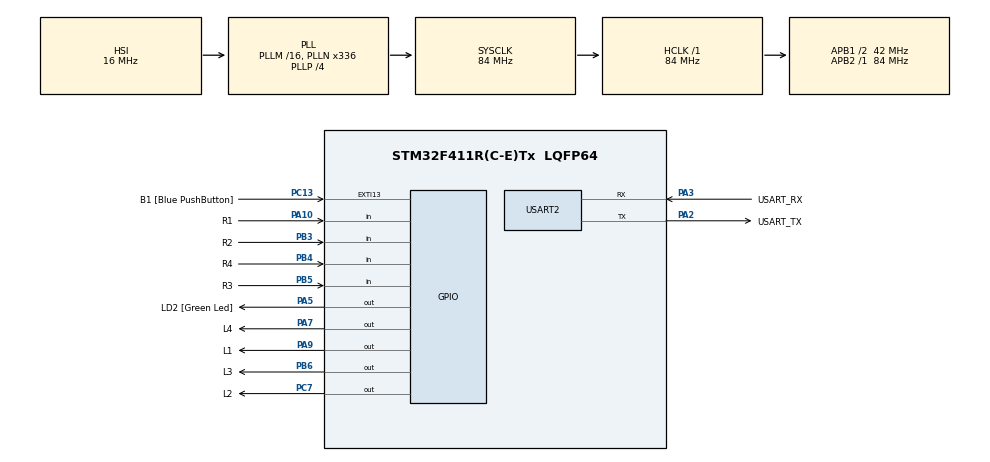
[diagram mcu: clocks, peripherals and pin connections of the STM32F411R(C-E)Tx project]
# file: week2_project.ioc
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Mcu.Family=STM32F4
Mcu.Name=STM32F411R(C-E)Tx
Mcu.Package=LQFP64
NVIC.PriorityGroup=NVIC_PRIORITYGROUP_0
PA10.GPIO_Label=R1
PA10.GPIO_Mode=GPIO_MODE_INPUT
PA10.GPIO_PuPd=GPIO_PULLUP
PA10.Signal=GPIO_Input
PA13.GPIO_Label=TMS
PA13.Mode=Serial_Wire
PA13.Signal=SYS_JTMS-SWDIO
PA14.GPIO_Label=TCK
PA14.Mode=Serial_Wire
PA14.Signal=SYS_JTCK-SWCLK
PA2.GPIO_Label=USART_TX
PA2.Mode=Asynchronous
PA2.Signal=USART2_TX
PA3.GPIO_Label=USART_RX
PA3.Mode=Asynchronous
PA3.Signal=USART2_RX
PA5.GPIO_Label=LD2 [Green Led]
PA5.Signal=GPIO_Output
PA7.GPIO_Label=L4
PA7.GPIO_ModeDefaultOutputPP=GPIO_MODE_OUTPUT_OD
PA7.GPIO_PuPd=GPIO_NOPULL
PA7.Signal=GPIO_Output
PA9.GPIO_Label=L1
PA9.GPIO_ModeDefaultOutputPP=GPIO_MODE_OUTPUT_OD
PA9.GPIO_PuPd=GPIO_NOPULL
PA9.Signal=GPIO_Output
PB3.GPIO_Label=R2
PB3.GPIO_Mode=GPIO_MODE_INPUT
PB3.GPIO_PuPd=GPIO_PULLUP
PB3.Signal=GPIO_Input
PB4.GPIO_Label=R4
PB4.GPIO_Mode=GPIO_MODE_INPUT
PB4.GPIO_PuPd=GPIO_PULLUP
PB4.Signal=GPIO_Input
PB5.GPIO_Label=R3
PB5.GPIO_Mode=GPIO_MODE_INPUT
PB5.GPIO_PuPd=GPIO_PULLUP
PB5.Signal=GPIO_Input
PB6.GPIO_Label=L3
PB6.GPIO_ModeDefaultOutputPP=GPIO_MODE_OUTPUT_OD
PB6.GPIO_PuPd=GPIO_NOPULL
PB6.Signal=GPIO_Output
PC13-ANTI_TAMP.GPIO_Label=B1 [Blue PushButton]
PC13-ANTI_TAMP.GPIO_ModeDefaultEXTI=GPIO_MODE_IT_FALLING
PC13-ANTI_TAMP.Signal=GPXTI13
PC14-OSC32_IN.Mode=LSE-External-Oscillator
PC14-OSC32_IN.Signal=RCC_OSC32_IN
PC15-OSC32_OUT.Mode=LSE-External-Oscillator
PC15-OSC32_OUT.Signal=RCC_OSC32_OUT
PC7.GPIO_Label=L2
PC7.GPIO_ModeDefaultOutputPP=GPIO_MODE_OUTPUT_OD
PC7.GPIO_PuPd=GPIO_NOPULL
PC7.Signal=GPIO_Output
PH0\ -\ OSC_IN.Mode=HSE-External-Clock-Source
PH0\ -\ OSC_IN.Signal=RCC_OSC_IN
PH1\ -\ OSC_OUT.Mode=HSE-External-Clock-Source
PH1\ -\ OSC_OUT.Signal=RCC_OSC_OUT
ProjectManager.HeapSize=0x200
ProjectManager.StackSize=0x400
ProjectManager.TargetToolchain=STM32CubeIDE
RCC.48MHZClocksFreq_Value=84000000
RCC.AHBFreq_Value=84000000
RCC.APB1CLKDivider=RCC_HCLK_DIV2
RCC.APB1Freq_Value=42000000
RCC.APB1TimFreq_Value=84000000
RCC.APB2Freq_Value=84000000
RCC.APB2TimFreq_Value=84000000
RCC.CortexFreq_Value=84000000
RCC.FLatency-AdvancedSettings=FLASH_LATENCY_2
RCC.HCLKFreq_Value=84000000
RCC.HSE_VALUE=8000000
RCC.HSI_VALUE=16000000
RCC.PLLN=336
RCC.PLLP=RCC_PLLP_DIV4
RCC.SYSCLKFreq_VALUE=84000000
RCC.SYSCLKSource=RCC_SYSCLKSOURCE_PLLCLK
RCC.VCOOutputFreq_Value=336000000
USART2.VirtualMode=VM_ASYNC
board=NUCLEO-F411RE

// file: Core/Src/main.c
/* USER CODE BEGIN Header */
/**
  ******************************************************************************
  * @file           : main.c
  * @brief          : Main program body
  ******************************************************************************
  * @attention
  *
  * Copyright (c) 2022 STMicroelectronics.
  * All rights reserved.
  *
  * This software is licensed under terms that can be found in the LICENSE file
  * in the root directory of this software component.
  * If no LICENSE file comes with this software, it is provided AS-IS.
  *
  ******************************************************************************
  */
/* USER CODE END Header */
#include "main.h"

UART_HandleTypeDef huart2;

/* USER CODE BEGIN PV */
uint16_t Buttonstate = 0; // store button state 4x4 button
uint8_t test=0;
/* USER CODE END PV */

void SystemClock_Config(void);
static void MX_GPIO_Init(void);
static void MX_USART2_UART_Init(void);
/* USER CODE BEGIN PFP */
void ButtonMatrixRerad();
/* USER CODE END PFP */

int main(void)
{

  /* MCU Configuration--------------------------------------------------------*/

  /* Reset of all peripherals, Initializes the Flash interface and the Systick. */
  HAL_Init();

  /* Configure the system clock */
  SystemClock_Config();

  /* Initialize all configured peripherals */
  MX_GPIO_Init();
  MX_USART2_UART_Init();

  /* Infinite loop */
  while (1)
  {

    /* USER CODE BEGIN 3 */
	//function that read Button
	  ButtonMatrixRead();
	  test = HAL_GPIO_ReadPin(GPIOA, GPIO_PIN_10);
  }
  /* USER CODE END 3 */
}

void SystemClock_Config(void)
{
  RCC_OscInitTypeDef RCC_OscInitStruct = {0};
  RCC_ClkInitTypeDef RCC_ClkInitStruct = {0};

  /** Configure the main internal regulator output voltage
  */
  __HAL_RCC_PWR_CLK_ENABLE();
  __HAL_PWR_VOLTAGESCALING_CONFIG(PWR_REGULATOR_VOLTAGE_SCALE1);
  /** Initializes the RCC Oscillators according to the specified parameters
  * in the RCC_OscInitTypeDef structure.
  */
  RCC_OscInitStruct.OscillatorType = RCC_OSCILLATORTYPE_HSI;
  RCC_OscInitStruct.HSIState = RCC_HSI_ON;
  RCC_OscInitStruct.HSICalibrationValue = RCC_HSICALIBRATION_DEFAULT;
  RCC_OscInitStruct.PLL.PLLState = RCC_PLL_ON;
  RCC_OscInitStruct.PLL.PLLSource = RCC_PLLSOURCE_HSI;
  RCC_OscInitStruct.PLL.PLLM = 16;
  RCC_OscInitStruct.PLL.PLLN = 336;
  RCC_OscInitStruct.PLL.PLLP = RCC_PLLP_DIV4;
  RCC_OscInitStruct.PLL.PLLQ = 4;
  if (HAL_RCC_OscConfig(&RCC_OscInitStruct) != HAL_OK)
  {
    Error_Handler();
  }
  /** Initializes the CPU, AHB and APB buses clocks
  */
  RCC_ClkInitStruct.ClockType = RCC_CLOCKTYPE_HCLK|RCC_CLOCKTYPE_SYSCLK
                              |RCC_CLOCKTYPE_PCLK1|RCC_CLOCKTYPE_PCLK2;
  RCC_ClkInitStruct.SYSCLKSource = RCC_SYSCLKSOURCE_PLLCLK;
  RCC_ClkInitStruct.AHBCLKDivider = RCC_SYSCLK_DIV1;
  RCC_ClkInitStruct.APB1CLKDivider = RCC_HCLK_DIV2;
  RCC_ClkInitStruct.APB2CLKDivider = RCC_HCLK_DIV1;

  if (HAL_RCC_ClockConfig(&RCC_ClkInitStruct, FLASH_LATENCY_2) != HAL_OK)
  {
    Error_Handler();
  }
}

static void MX_USART2_UART_Init(void)
{

  huart2.Instance = USART2;
  huart2.Init.BaudRate = 115200;
  huart2.Init.WordLength = UART_WORDLENGTH_8B;
  huart2.Init.StopBits = UART_STOPBITS_1;
  huart2.Init.Parity = UART_PARITY_NONE;
  huart2.Init.Mode = UART_MODE_TX_RX;
  huart2.Init.HwFlowCtl = UART_HWCONTROL_NONE;
  huart2.Init.OverSampling = UART_OVERSAMPLING_16;
  if (HAL_UART_Init(&huart2) != HAL_OK)
  {
    Error_Handler();
  }

}

static void MX_GPIO_Init(void)
{
  GPIO_InitTypeDef GPIO_InitStruct = {0};

  /* GPIO Ports Clock Enable */
  __HAL_RCC_GPIOC_CLK_ENABLE();
  __HAL_RCC_GPIOH_CLK_ENABLE();
  __HAL_RCC_GPIOA_CLK_ENABLE();
  __HAL_RCC_GPIOB_CLK_ENABLE();

  /*Configure GPIO pin Output Level */
  HAL_GPIO_WritePin(GPIOA, LD2_Pin|L4_Pin|L1_Pin, GPIO_PIN_RESET);

  /*Configure GPIO pin Output Level */
  HAL_GPIO_WritePin(L2_GPIO_Port, L2_Pin, GPIO_PIN_RESET);

  /*Configure GPIO pin Output Level */
  HAL_GPIO_WritePin(L3_GPIO_Port, L3_Pin, GPIO_PIN_RESET);

  /*Configure GPIO pin : B1_Pin */
  GPIO_InitStruct.Pin = B1_Pin;
  GPIO_InitStruct.Mode = GPIO_MODE_IT_FALLING;
  GPIO_InitStruct.Pull = GPIO_NOPULL;
  HAL_GPIO_Init(B1_GPIO_Port, &GPIO_InitStruct);

  /*Configure GPIO pin : LD2_Pin */
  GPIO_InitStruct.Pin = LD2_Pin;
  GPIO_InitStruct.Mode = GPIO_MODE_OUTPUT_PP;
  GPIO_InitStruct.Pull = GPIO_NOPULL;
  GPIO_InitStruct.Speed = GPIO_SPEED_FREQ_LOW;
  HAL_GPIO_Init(LD2_GPIO_Port, &GPIO_InitStruct);

  /*Configure GPIO pins : L4_Pin L1_Pin */
  GPIO_InitStruct.Pin = L4_Pin|L1_Pin;
  GPIO_InitStruct.Mode = GPIO_MODE_OUTPUT_OD;
  GPIO_InitStruct.Pull = GPIO_NOPULL;
  GPIO_InitStruct.Speed = GPIO_SPEED_FREQ_LOW;
  HAL_GPIO_Init(GPIOA, &GPIO_InitStruct);

  /*Configure GPIO pin : L2_Pin */
  GPIO_InitStruct.Pin = L2_Pin;
  GPIO_InitStruct.Mode = GPIO_MODE_OUTPUT_OD;
  GPIO_InitStruct.Pull = GPIO_NOPULL;
  GPIO_InitStruct.Speed = GPIO_SPEED_FREQ_LOW;
  HAL_GPIO_Init(L2_GPIO_Port, &GPIO_InitStruct);

  /*Configure GPIO pin : R1_Pin */
  GPIO_InitStruct.Pin = R1_Pin;
  GPIO_InitStruct.Mode = GPIO_MODE_INPUT;
  GPIO_InitStruct.Pull = GPIO_PULLUP;
  HAL_GPIO_Init(R1_GPIO_Port, &GPIO_InitStruct);

  /*Configure GPIO pins : R2_Pin R4_Pin R3_Pin */
  GPIO_InitStruct.Pin = R2_Pin|R4_Pin|R3_Pin;
  GPIO_InitStruct.Mode = GPIO_MODE_INPUT;
  GPIO_InitStruct.Pull = GPIO_PULLUP;
  HAL_GPIO_Init(GPIOB, &GPIO_InitStruct);

  /*Configure GPIO pin : L3_Pin */
  GPIO_InitStruct.Pin = L3_Pin;
  GPIO_InitStruct.Mode = GPIO_MODE_OUTPUT_OD;
  GPIO_InitStruct.Pull = GPIO_NOPULL;
  GPIO_InitStruct.Speed = GPIO_SPEED_FREQ_LOW;
  HAL_GPIO_Init(L3_GPIO_Port, &GPIO_InitStruct);

}

/* USER CODE BEGIN 4 */
//Read button state form 4x4 button
GPIO_TypeDef *ButtonMatrixPortR[4] = {R1_GPIO_Port,R2_GPIO_Port,R3_GPIO_Port,R4_GPIO_Port};
uint16_t ButtonMatrixPinR[4] = {R1_Pin,R2_Pin,R3_Pin,R4_Pin};

GPIO_TypeDef *ButtonMatrixPortL[4] = {L1_GPIO_Port,L2_GPIO_Port,L3_GPIO_Port,L4_GPIO_Port};
uint16_t ButtonMatrixPinL[4] = {L1_Pin,L2_Pin,L3_Pin,L4_Pin};
uint8_t CurrentL = 0;
void ButtonMatrixRead()
{
	static uint32_t timeStamp = 0;
//	static uint8_t CurrentL = 0;
	//call reader every 100 ms
	if(HAL_GetTick() - timeStamp >= 100)
	{
		timeStamp = HAL_GetTick();

		for (int i=0;i<4;i++)
		{
			if (HAL_GPIO_ReadPin(ButtonMatrixPortR[i],ButtonMatrixPinR[i]) == GPIO_PIN_RESET) // Button press
			{
				//set bit i to 1
				//i calculate form i(R) and CurrentL to set bit that relate to 4x4 button
				Buttonstate |= 1 << (i + (CurrentL*4));//i = 2
			}
			else
			{
				//set bit i = 0
				Buttonstate &= ~(1<<(i + (CurrentL*4))); //i = 3 ob0000 0000 0000 1000

			}

		}
		//set currentL to Hi-z (Open-drain)
		HAL_GPIO_WritePin(ButtonMatrixPortL[CurrentL],ButtonMatrixPinL[CurrentL],GPIO_PIN_SET);
		uint8_t nextL = (CurrentL + 1) % 4;
		//set nextL to Low
		HAL_GPIO_WritePin(ButtonMatrixPortL[nextL],ButtonMatrixPinL[nextL],GPIO_PIN_RESET);
		CurrentL = nextL;

	}
}

/* USER CODE END 4 */

void Error_Handler(void)
{
  __disable_irq();
  while (1)
  {
  }
}
